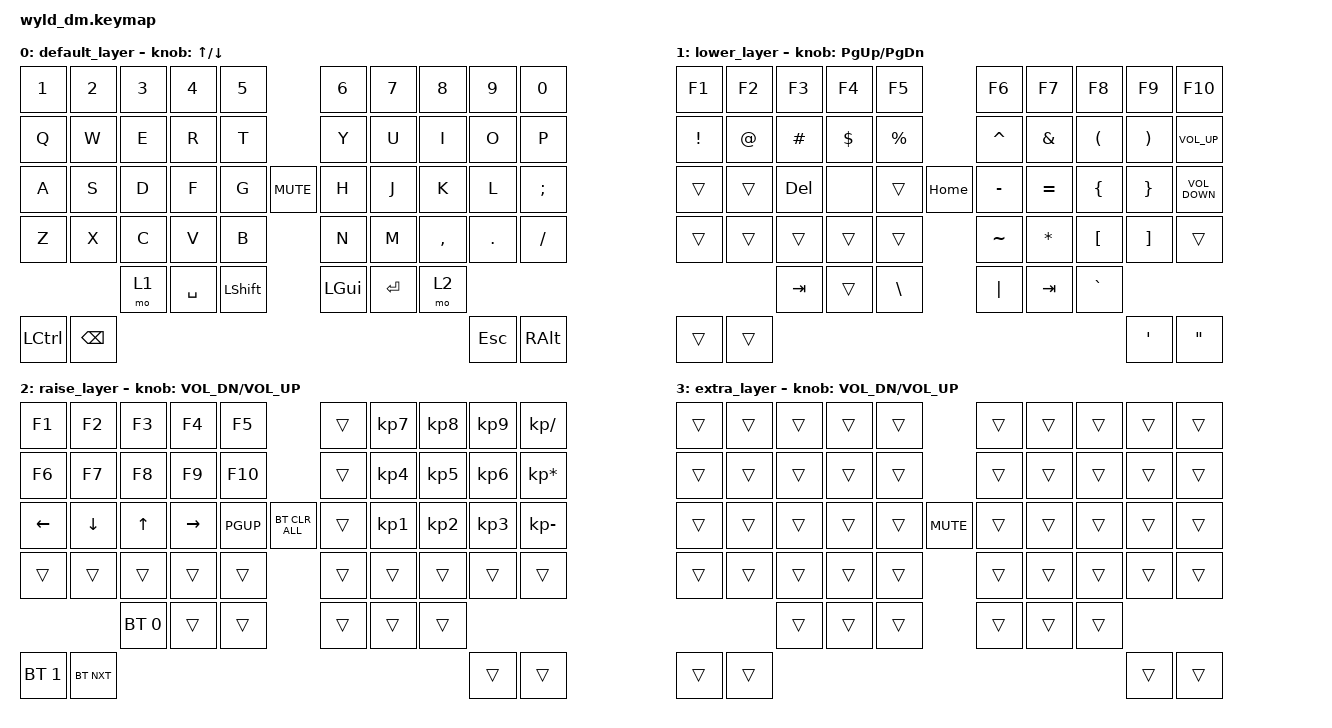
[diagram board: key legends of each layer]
/*
 * Copyright (c) 2020 The ZMK Contributors
 *
 * SPDX-License-Identifier: MIT
 */

#include <behaviors.dtsi>
#include <dt-bindings/zmk/bt.h>
#include <dt-bindings/zmk/keys.h>

//#include <dt-bindings/led/led.h>
//#include <dt-bindings/zmk/mouse.h>
//#include <behaviors/mouse_keys.dtsi>

#define QWERTY 0
#define LOWER 1
#define RAISE 2

// 4x5

/ {
    keymap {
        compatible = "zmk,keymap";

        default_layer {
            bindings = <
&kp N1     &kp N2         &kp N3  &kp N4     &kp N5                      &kp N6    &kp N7     &kp N8     &kp N9   &kp N0
&kp Q      &kp W          &kp E   &kp R      &kp T                       &kp Y     &kp U      &kp I      &kp O    &kp P
&kp A      &kp S          &kp D   &kp F      &kp G           &kp K_MUTE  &kp H     &kp J      &kp K      &kp L    &kp SEMI
&kp Z      &kp X          &kp C   &kp V      &kp B                       &kp N     &kp M      &kp COMMA  &kp DOT  &kp FSLH
                          &mo 1   &kp SPACE  &kp LEFT_SHIFT              &kp LGUI  &kp ENTER  &mo 2
&kp LCTRL  &kp BACKSPACE                                                                                 &kp ESC  &kp RALT
            >;

            sensor-bindings = <&inc_dec_kp UP_ARROW DOWN_ARROW>;
        };

        lower_layer {
            bindings = <
&kp F1    &kp F2  &kp F3      &kp F4      &kp F5                   &kp F6     &kp F7        &kp F8                &kp F9                 &kp F10
&kp EXCL  &kp AT  &kp HASH    &kp DOLLAR  &kp PRCNT                &kp CARET  &kp AMPS      &kp LEFT_PARENTHESIS  &kp RIGHT_PARENTHESIS  &kp C_VOLUME_UP
&trans    &trans  &kp DELETE  &none       &trans         &kp HOME  &kp MINUS  &kp EQUAL     &kp LBRC              &kp RBRC               &kp C_VOLUME_DOWN
&trans    &trans  &trans      &trans      &trans                   &kp TILDE  &kp ASTERISK  &kp LEFT_BRACKET      &kp RIGHT_BRACKET      &trans
                  &kp TAB     &trans      &kp BACKSLASH            &kp PIPE   &kp TAB       &kp GRAVE
&trans    &trans                                                                                                  &kp SINGLE_QUOTE       &kp DOUBLE_QUOTES
            >;

            sensor-bindings = <&inc_dec_kp PAGE_UP PAGE_DOWN>;
        };

        raise_layer {
            bindings = <
&kp F1        &kp F2      &kp F3        &kp F4     &kp F5                    &trans  &kp KP_N7  &kp KP_N8  &kp KP_N9  &kp KP_DIVIDE
&kp F6        &kp F7      &kp F8        &kp F9     &kp F10                   &trans  &kp KP_N4  &kp KP_N5  &kp KP_N6  &kp KP_MULTIPLY
&kp LEFT      &kp DOWN    &kp UP        &kp RIGHT  &kp PGUP  &bt BT_CLR_ALL  &trans  &kp KP_N1  &kp KP_N2  &kp KP_N3  &kp KP_MINUS
&trans        &trans      &trans        &trans     &trans                    &trans  &trans     &trans     &trans     &trans
                          &bt BT_SEL 0  &trans     &trans                    &trans  &trans     &trans
&bt BT_SEL 1  &bt BT_NXT                                                                                   &trans     &trans
            >;

            sensor-bindings = <&inc_dec_kp C_VOL_DN C_VOL_UP>;
        };

        extra_layer {
            bindings = <
&trans  &trans  &trans  &trans  &trans              &trans  &trans  &trans  &trans  &trans
&trans  &trans  &trans  &trans  &trans              &trans  &trans  &trans  &trans  &trans
&trans  &trans  &trans  &trans  &trans  &kp K_MUTE  &trans  &trans  &trans  &trans  &trans
&trans  &trans  &trans  &trans  &trans              &trans  &trans  &trans  &trans  &trans
                &trans  &trans  &trans              &trans  &trans  &trans
&trans  &trans                                                              &trans  &trans
            >;

            sensor-bindings = <&inc_dec_kp C_VOL_DN C_VOL_UP>;
        };
    };
};
